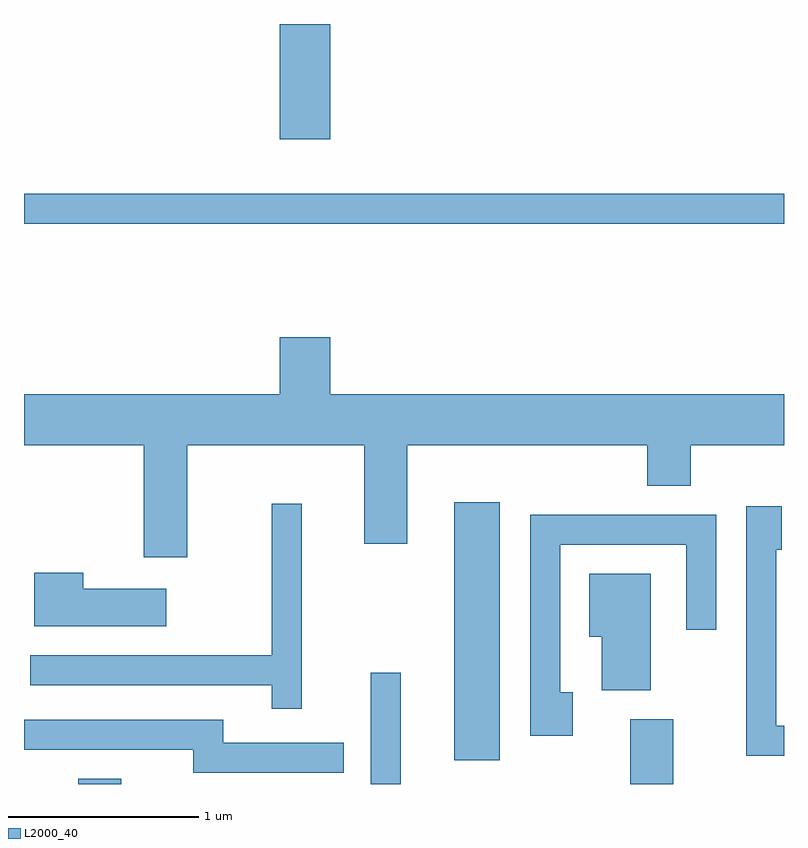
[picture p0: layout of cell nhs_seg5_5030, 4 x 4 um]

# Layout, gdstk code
import gdstk
lib = gdstk.Library(unit=1e-6, precision=1e-09)
def R(c, l, rs):  # rectangles x0, y0, x1, y1
    for r in rs: c.add(gdstk.rectangle(r[:2], r[2:], *l))
def P(c, l, *ps):  # polygons
    for p in ps: c.add(gdstk.Polygon(p, *l))
L2000_40 = (2000, 40)

nhs_seg5_5030 = lib.new_cell('nhs_seg5_5030')
R(nhs_seg5_5030, L2000_40, [(333.896,1506.072,334.124,1506.099), (335.436,1506.072,335.594,1506.658), (336.801,1506.072,337.029,1506.414), (335.876,1506.196,336.114,1507.554), (333.611,1509.021,337.611,1509.179), (334.956,1509.466,335.224,1510.072)])
P(nhs_seg5_5030, L2000_40, [(334.469,1507.856),(335.401,1507.856),(335.401,1507.336),(335.629,1507.336),(335.629,1507.856),(336.891,1507.856),(336.891,1507.641),(337.119,1507.641),(337.119,1507.856),(337.611,1507.856),(337.611,1508.124),(335.224,1508.124),(335.224,1508.424),(334.956,1508.424),(334.956,1508.124),(333.611,1508.124),(333.611,1507.856),(334.241,1507.856),(334.241,1507.266),(334.469,1507.266)],
  [(335.074,1507.548),(334.916,1507.548),(334.916,1506.749),(333.643,1506.749),(333.643,1506.591),(334.916,1506.591),(334.916,1506.468),(335.074,1506.468)],
  [(337.611,1506.379),(337.569,1506.379),(337.569,1507.306),(337.599,1507.306),(337.599,1507.534),(337.411,1507.534),(337.411,1506.221),(337.611,1506.221)],
  [(336.499,1506.554),(336.434,1506.554),(336.434,1507.331),(337.096,1507.331),(337.096,1506.883),(337.254,1506.883),(337.254,1507.489),(336.276,1507.489),(336.276,1506.326),(336.499,1506.326)],
  [(334.359,1507.099),(333.924,1507.099),(333.924,1507.184),(333.666,1507.184),(333.666,1506.901),(334.359,1506.901)],
  [(336.909,1507.179),(336.586,1507.179),(336.586,1506.846),(336.651,1506.846),(336.651,1506.566),(336.909,1506.566)],
  [(335.293,1506.289),(334.659,1506.289),(334.659,1506.409),(333.611,1506.409),(333.611,1506.251),(334.501,1506.251),(334.501,1506.131),(335.293,1506.131)])

lib.write_gds('nhs_seg5_5030.gds')
